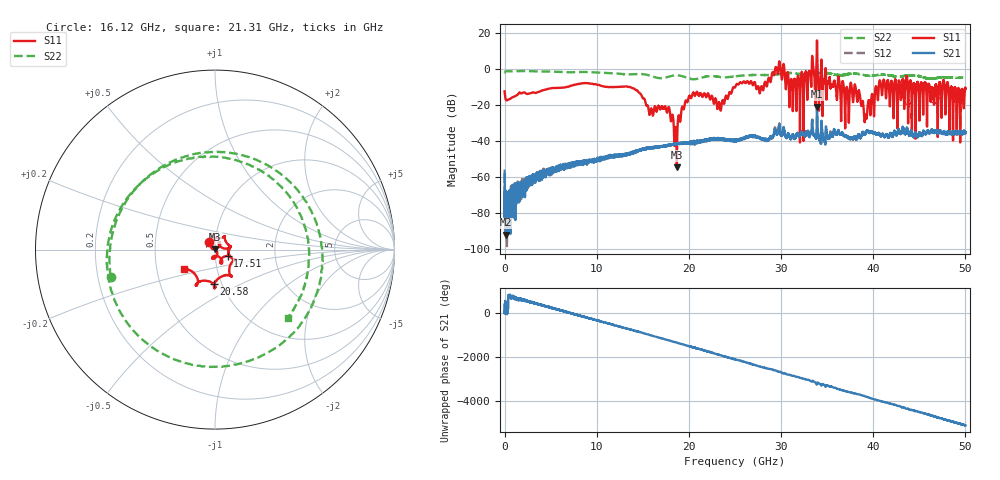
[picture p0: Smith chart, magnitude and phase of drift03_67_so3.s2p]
!Created with skrf (http://scikit-rf.org).
# Hz S RI R 50.0
!freq ReS11 ImS11 ReS21 ImS21 ReS12 ImS12 ReS22 ImS22
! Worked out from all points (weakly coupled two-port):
!   10001 points, 300 kHz to 50 GHz, reference 50 ohm
!   highest |S21| = -21.11 dB at 33.9 GHz (marker M1); lowest = -92.2 dB at 135.3 MHz (marker M2)
!   lowest |S11| = -54.8 dB at 18.69 GHz (marker M3), VSWR 1.00, Z = 49.9 + j0.162 ohm
!   |S11| at or under -10 dB: start of sweep to 6.944 GHz; 13.31 GHz to 25.04 GHz (11.73 GHz wide, 61.2 % of centre); 38.07 GHz to 40.26 GHz (2.186 GHz wide, 5.58 % of centre) (the widest 3 of 51)
!   |S22| runs from -5.9 to -1.3 dB; largest |S21 - S12| = 0.013
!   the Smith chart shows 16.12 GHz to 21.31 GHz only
!   S11 on the Smith chart (normalised r, x): 16.12 GHz: 0.94, +0.08; 17.51 GHz: 1.15, -0.08; 20.58 GHz: 0.91, -0.37; 21.31 GHz: 0.69, -0.16
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300000  -0.21 -0.105  0.000675 0.0013  0.000114 0.00121  -0.7642 -0.203
1.352992e8  -0.1227 0.0599  -2.16e-05 -1.17e-05  0.000315 -2.41e-05  -0.8159 0.2152
1.535291e9  0.2048 0.0432  -0.000159 -0.000548  3.65e-05 -0.000463  0.8491 0.0772
3.160281e9  -0.2186 -0.00839  5.07e-05 0.000983  -7.1e-05 0.000858  -0.8436 -0.0246
4.665272e9  0.2634 0.0614  9.19e-05 -0.00152  6.77e-05 -0.00113  0.8191 0.1422
6.360262e9  -0.3001 0.000443  0.000634 0.00158  0.000516 0.0017  -0.8039 -0.0423
8.33525e9  0.2837 -0.2676  -0.00227 -0.00093  -0.00233 -0.000547  0.6015 -0.5359
9.575243e9  -0.3721 -0.048  0.00142 0.00222  0.00125 0.00244  -0.7856 -0.0951
1.124023e10  0.3058 0.0262  -0.00211 -0.00281  -0.0022 -0.0024  0.7569 0.0263
1.61152e10  -0.0315 0.0407  0.00635 0.00206  0.00601 0.00218  -0.5805 -0.151
1.66702e10  0.0542 0.0751  0.00453 -0.00494  0.00451 -0.00482  -0.3599 0.4173
1.751019e10  0.071 -0.035  -0.00576 -0.00419  -0.00601 -0.00422  0.4816 0.304
1.869019e10  -0.000799 0.00163  0.00248 0.00777  0.00215 0.0079  -0.0833 -0.647
2.058018e10  -0.00803 -0.1928  -0.00745 -0.00426  -0.00832 -0.00426  0.3769 0.3404
2.131017e10  -0.1722 -0.1087  -0.00478 0.00839  -0.00528 0.00813  0.4054 -0.3802
2.500015e10  -0.2973 -0.0478  0.00766 0.00613  0.00797 0.00675  -0.1867 -0.5816
3.051512e10  0.2353 -0.1289  -0.00199 0.0125  -0.00204 0.0126  0.7425 -0.0688
3.213011e10  0.2016 0.3734  -0.000447 -0.0147  -0.000316 -0.0152  -0.6945 0.00397
3.33351e10  0.4961 -0.9878  -0.00571 0.0242  -0.00624 0.0246  0.6159 0.3653
3.38951e10  -0.7692 -6.003  0.0873 0.0114  0.0747 0.00717  0.6805 -0.3226
4.167005e10  -0.2266 0.2815  -0.0119 -0.00467  -0.0118 -0.00486  -0.6549 -0.0581
5e10  -0.1472 -0.2457  0.00148 -0.0167  0.00125 -0.0174  0.4662 -0.3138
